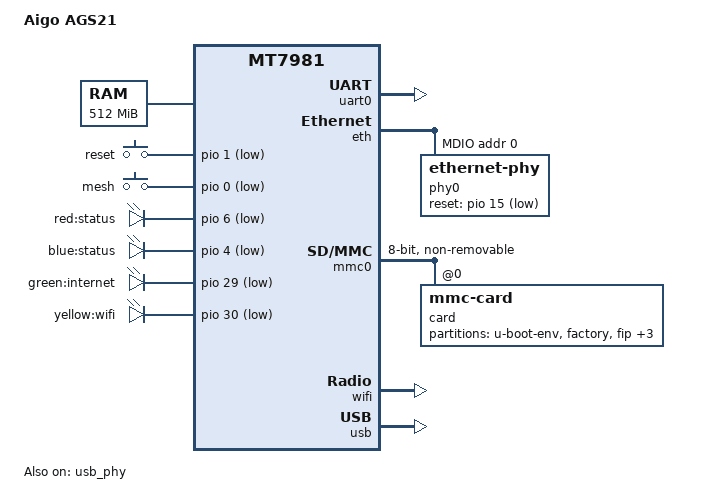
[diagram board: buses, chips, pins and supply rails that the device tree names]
// SPDX-License-Identifier: GPL-2.0-or-later OR MIT
/dts-v1/;

#include "mt7981a.dtsi"

/ {
	model = "Aigo AGS21";
	compatible = "aigo,ags21", "mediatek,mt7981";

	aliases {
		serial0 = &uart0;
		led-boot = &led_red;
		led-failsafe = &led_red;
		led-running = &led_blue;
		led-upgrade = &led_blue;
	};

	chosen {
		bootargs = "console=ttyS0,115200n1 root=PARTLABEL=rootfs rootwait";
	};

	memory {
		reg = <0x40000000 0x20000000>;
	};

	gpio-keys {
		compatible = "gpio-keys";

		reset {
			label = "reset";
			gpios = <&pio 1 GPIO_ACTIVE_LOW>;
			linux,code = <KEY_RESTART>;
		};

		mesh {
			label = "mesh";
			gpios = <&pio 0 GPIO_ACTIVE_LOW>;
			linux,code = <KEY_WPS_BUTTON>;
		};
	};

	leds {
		compatible = "gpio-leds";

		led_red: led-0 {
			label = "red:status";
			gpios = <&pio 6 GPIO_ACTIVE_LOW>;
		};

		led_blue: led-1 {
			label = "blue:status";
			gpios = <&pio 4 GPIO_ACTIVE_LOW>;
		};

		led-2 {
			label = "green:internet";
			gpios = <&pio 29 GPIO_ACTIVE_LOW>;
		};

		led-3 {
			label = "yellow:wifi";
			gpios = <&pio 30 GPIO_ACTIVE_LOW>;
		};
	};
};

&uart0 {
	status = "okay";
};

&uart1 {
	status = "disabled";
};

&uart2 {
	status = "disabled";
};

&eth {
	status = "okay";

	gmac0: mac@0 {
		compatible = "mediatek,eth-mac";
		reg = <0>;
		phy-mode = "2500base-x";
		phy-handle = <&phy0>;
		nvmem-cells = <&macaddr_factory_4>;
		nvmem-cell-names = "mac-address";
	};

	mdio-bus {
		#address-cells = <1>;
		#size-cells = <0>;

		phy0: ethernet-phy@0 {
			reg = <0>;
			reset-gpios = <&pio 15 GPIO_ACTIVE_LOW>;
			reset-assert-us = <10000>;
			reset-deassert-us = <20000>;
			phy-mode = "2500base-x";
		};
	};
};

&hnat {
	mtketh-wan = "eth0";
	mtketh-lan = "lan";
};

&mmc0 {
	pinctrl-names = "default", "state_uhs";
	pinctrl-0 = <&mmc0_pins_default>;
	pinctrl-1 = <&mmc0_pins_uhs>;
	bus-width = <8>;
	max-frequency = <200000000>;
	cap-mmc-highspeed;
	mmc-hs200-1_8v;
	mmc-hs400-1_8v;
	non-removable;
	status = "okay";

	card@0 {
		compatible = "mmc-card";
		reg = <0>;

		block {
			compatible = "block-device";

			partitions {
				#address-cells = <2>;
				#size-cells = <2>;

				partition@0 {
					label = "u-boot-env";
					reg = <0x0 0x80000>;
					read-only;
				};

				partition@80000 {
					label = "factory";
					reg = <0x80000 0x200000>;
					read-only;
				};

				partition@280000 {
					label = "fip";
					reg = <0x280000 0x200000>;
					read-only;
				};

				partition@480000 {
					label = "kernel";
					reg = <0x480000 0x2000000>;
				};

				partition@2480000 {
					label = "rootfs";
					reg = <0x2480000 0x80000000>;
				};

				partition@82480000 {
					label = "data";
					reg = <0x82480000 0xe0000000>;
				};
			};

			nvmem-layout {
				compatible = "fixed-layout";
				#address-cells = <1>;
				#size-cells = <1>;

				eeprom@0 {
					reg = <0x0 0x1000>;
				};

				macaddr_factory_4: macaddr@4 {
					reg = <0x4 0x6>;
				};

				macaddr_factory_24: macaddr@24 {
					reg = <0x24 0x6>;
				};

				macaddr_factory_2a: macaddr@2a {
					reg = <0x2a 0x6>;
				};

				macaddr_factory_30: macaddr@30 {
					reg = <0x30 0x6>;
				};
			};
		};
	};
};

&wifi {
	status = "okay";
	mediatek,mtd-eeprom = <&factory 0x0>;
};

&usb_phy {
	status = "okay";
};

&usb {
	status = "okay";
	vusb33-supply = <&reg_3p3v>;
};
